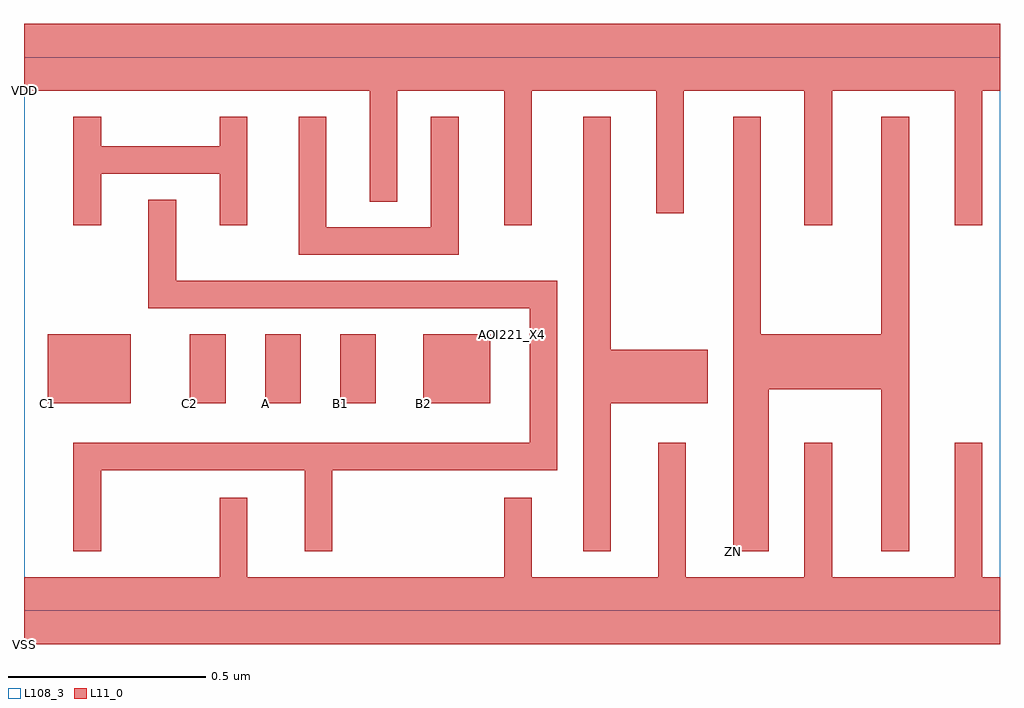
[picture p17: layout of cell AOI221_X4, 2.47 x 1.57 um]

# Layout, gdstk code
import gdstk
lib = gdstk.Library(unit=1e-6, precision=1e-09)
def R(c, l, rs):  # rectangles x0, y0, x1, y1
    for r in rs: c.add(gdstk.rectangle(r[:2], r[2:], *l))
def A(c, l, x, y, w, h, nx, ny, dx, dy):  # array of equal rectangles
    R(c, l, [(x+i*dx, y+j*dy, x+i*dx+w, y+j*dy+h) for i in range(nx) for j in range(ny)])
def P(c, l, *ps):  # polygons
    for p in ps: c.add(gdstk.Polygon(p, *l))
L11_0 = (11, 0)
L108_3 = (108, 3)

aoi221_x4 = lib.new_cell('AOI221_X4')
A(aoi221_x4, L11_0, 0.42, 0.525, 0.09, 0.175, 3, 1, 0.19, 0)
R(aoi221_x4, L11_0, [(0.06,0.525,0.27,0.7), (1.01,0.525,1.18,0.7)])
P(aoi221_x4, L11_0, [(1.795,0.15),(1.885,0.15),(1.885,0.56),(2.17,0.56),(2.17,0.15),(2.24,0.15),(2.24,1.25),(2.17,1.25),(2.17,0.7),(1.865,0.7),(1.865,1.25),(1.795,1.25)],
  [(0,1.315),(0.565,1.315),(0.875,1.315),(0.875,1.035),(0.945,1.035),(0.945,1.315),(1.1,1.315),(1.215,1.315),(1.215,0.975),(1.285,0.975),(1.285,1.315),(1.35,1.315),(1.6,1.315),(1.6,1.005),(1.67,1.005),(1.67,1.315),(1.73,1.315),(1.975,1.315),(1.975,0.975),(2.045,0.975),(2.045,1.315),(2.355,1.315),(2.355,0.975),(2.425,0.975),(2.425,1.315),(2.47,1.315),(2.47,1.485),(1.73,1.485),(1.35,1.485),(1.1,1.485),(0.565,1.485),(0,1.485)],
  [(0,-0.085),(2.47,-0.085),(2.47,0.085),(2.425,0.085),(2.425,0.425),(2.355,0.425),(2.355,0.085),(2.045,0.085),(2.045,0.425),(1.975,0.425),(1.975,0.085),(1.675,0.085),(1.675,0.425),(1.605,0.425),(1.605,0.085),(1.285,0.085),(1.285,0.285),(1.215,0.285),(1.215,0.085),(0.565,0.085),(0.565,0.285),(0.495,0.285),(0.495,0.085),(0,0.085)],
  [(0.125,0.975),(0.195,0.975),(0.195,1.105),(0.495,1.105),(0.495,0.975),(0.565,0.975),(0.565,1.25),(0.495,1.25),(0.495,1.175),(0.195,1.175),(0.195,1.25),(0.125,1.25)],
  [(0.695,0.9),(1.1,0.9),(1.1,1.25),(1.03,1.25),(1.03,0.97),(0.765,0.97),(0.765,1.25),(0.695,1.25)],
  [(0.315,0.765),(1.28,0.765),(1.28,0.425),(0.125,0.425),(0.125,0.15),(0.195,0.15),(0.195,0.355),(0.71,0.355),(0.71,0.15),(0.78,0.15),(0.78,0.355),(1.35,0.355),(1.35,0.835),(0.385,0.835),(0.385,1.04),(0.315,1.04)],
  [(1.415,0.15),(1.485,0.15),(1.485,0.525),(1.73,0.525),(1.73,0.66),(1.485,0.66),(1.485,1.25),(1.415,1.25)])
R(aoi221_x4, L108_3, [(0,0,2.47,1.4)])
aoi221_x4.add(gdstk.Label('AOI221_X4', (1.235,0.7), layer=108, texttype=3))
aoi221_x4.add(gdstk.Label('A', (0.61,0.525), layer=11, texttype=0))
aoi221_x4.add(gdstk.Label('B1', (0.8,0.525), layer=11, texttype=0))
aoi221_x4.add(gdstk.Label('B2', (1.01,0.525), layer=11, texttype=0))
aoi221_x4.add(gdstk.Label('C1', (0.06,0.525), layer=11, texttype=0))
aoi221_x4.add(gdstk.Label('C2', (0.42,0.525), layer=11, texttype=0))
aoi221_x4.add(gdstk.Label('ZN', (1.795,0.15), layer=11, texttype=0))
aoi221_x4.add(gdstk.Label('VDD', (0,1.315), layer=11, texttype=0))
aoi221_x4.add(gdstk.Label('VSS', (0,-0.085), layer=11, texttype=0))

lib.write_gds('AOI221_X4.gds')
